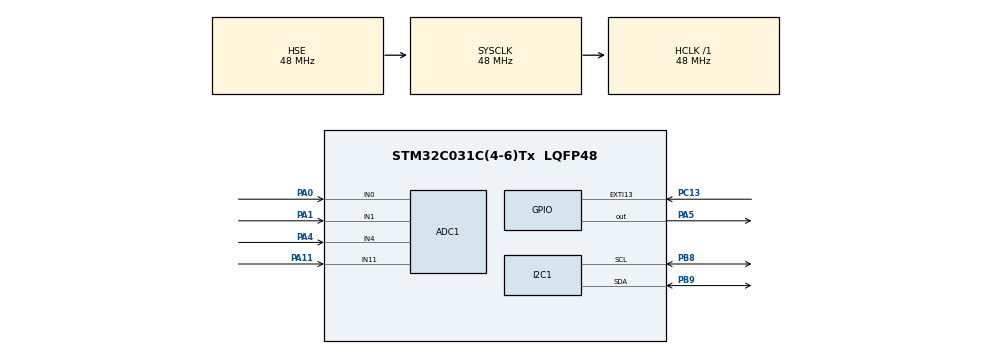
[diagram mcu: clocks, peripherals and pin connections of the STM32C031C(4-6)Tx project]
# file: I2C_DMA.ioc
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ADC1.Channel-0\#ChannelRegularConversion=ADC_CHANNEL_0
ADC1.Channel-1\#ChannelRegularConversion=ADC_CHANNEL_1
ADC1.Channel-2\#ChannelRegularConversion=ADC_CHANNEL_4
ADC1.Channel-3\#ChannelRegularConversion=ADC_CHANNEL_11
ADC1.ContinuousConvMode=ENABLE
ADC1.DMAContinuousRequests=ENABLE
ADC1.NbrOfConversion=4
ADC1.NbrOfConversionFlag=1
ADC1.OffsetNumber-0\#ChannelRegularConversion=ADC_OFFSET_NONE
ADC1.OffsetNumber-1\#ChannelRegularConversion=ADC_OFFSET_NONE
ADC1.OffsetNumber-2\#ChannelRegularConversion=ADC_OFFSET_NONE
ADC1.OffsetNumber-3\#ChannelRegularConversion=ADC_OFFSET_NONE
ADC1.Rank-0\#ChannelRegularConversion=1
ADC1.Rank-1\#ChannelRegularConversion=2
ADC1.Rank-2\#ChannelRegularConversion=3
ADC1.Rank-3\#ChannelRegularConversion=4
ADC1.SamplingTime-0\#ChannelRegularConversion=ADC_SAMPLINGTIME_COMMON_1
ADC1.SamplingTime-1\#ChannelRegularConversion=ADC_SAMPLINGTIME_COMMON_1
ADC1.SamplingTime-2\#ChannelRegularConversion=ADC_SAMPLINGTIME_COMMON_1
ADC1.SamplingTime-3\#ChannelRegularConversion=ADC_SAMPLINGTIME_COMMON_1
ADC1.SamplingTimeCommon1=ADC_SAMPLETIME_160CYCLES_5
ADC1.SamplingTimeCommon2=ADC_SAMPLETIME_160CYCLES_5
ADC1.SelectedChannel=ADC_CHANNEL_0|ADC_CHANNEL_1|ADC_CHANNEL_4|ADC_CHANNEL_11
ADC1.Sequencer=FULLY_CONFIGURABLE
ADC1.master=1
Dma.ADC1.0.Direction=DMA_PERIPH_TO_MEMORY
Dma.ADC1.0.EventEnable=DISABLE
Dma.ADC1.0.Instance=DMA1_Channel2
Dma.ADC1.0.MemDataAlignment=DMA_MDATAALIGN_HALFWORD
Dma.ADC1.0.MemInc=DMA_MINC_ENABLE
Dma.ADC1.0.Mode=DMA_CIRCULAR
Dma.ADC1.0.PeriphDataAlignment=DMA_PDATAALIGN_HALFWORD
Dma.ADC1.0.PeriphInc=DMA_PINC_DISABLE
Dma.ADC1.0.Polarity=HAL_DMAMUX_REQ_GEN_RISING
Dma.ADC1.0.Priority=DMA_PRIORITY_LOW
Dma.ADC1.0.RequestNumber=1
Dma.ADC1.0.SignalID=NONE
Dma.ADC1.0.SyncEnable=DISABLE
Dma.ADC1.0.SyncPolarity=HAL_DMAMUX_SYNC_NO_EVENT
Dma.ADC1.0.SyncRequestNumber=1
Dma.ADC1.0.SyncSignalID=NONE
Dma.I2C1_TX.1.Direction=DMA_MEMORY_TO_PERIPH
Dma.I2C1_TX.1.EventEnable=DISABLE
Dma.I2C1_TX.1.Instance=DMA1_Channel1
Dma.I2C1_TX.1.MemDataAlignment=DMA_MDATAALIGN_BYTE
Dma.I2C1_TX.1.MemInc=DMA_MINC_ENABLE
Dma.I2C1_TX.1.Mode=DMA_NORMAL
Dma.I2C1_TX.1.PeriphDataAlignment=DMA_PDATAALIGN_BYTE
Dma.I2C1_TX.1.PeriphInc=DMA_PINC_DISABLE
Dma.I2C1_TX.1.Polarity=HAL_DMAMUX_REQ_GEN_RISING
Dma.I2C1_TX.1.Priority=DMA_PRIORITY_HIGH
Dma.I2C1_TX.1.RequestNumber=1
Dma.I2C1_TX.1.SignalID=NONE
Dma.I2C1_TX.1.SyncEnable=DISABLE
Dma.I2C1_TX.1.SyncPolarity=HAL_DMAMUX_SYNC_NO_EVENT
Dma.I2C1_TX.1.SyncRequestNumber=1
Dma.I2C1_TX.1.SyncSignalID=NONE
Dma.Request0=ADC1
Dma.Request1=I2C1_TX
I2C1.NoStretchMode=I2C_NOSTRETCH_ENABLE
I2C1.OwnAddress=0x50
I2C1.Timing=0x10805D88
Mcu.Family=STM32C0
Mcu.Name=STM32C031C(4-6)Tx
Mcu.Package=LQFP48
NUCLEO-C031C6.BUTTON=1
NUCLEO-C031C6.LD4=true
NUCLEO-C031C6.VCP=true
NVIC.ADC1_IRQn=true\:0\:0\:false\:false\:true\:true\:true\:true
NVIC.DMA1_Channel1_IRQn=true\:0\:0\:false\:false\:true\:false\:true\:true
NVIC.DMA1_Channel2_3_IRQn=true\:0\:0\:false\:false\:true\:false\:true\:true
NVIC.EXTI4_15_IRQn=true\:0\:0\:false\:false\:true\:true\:true\:true
NVIC.I2C1_IRQn=true\:0\:0\:false\:false\:true\:true\:true\:true
PA0.Mode=IN0
PA0.Signal=ADC1_IN0
PA1.Mode=IN1
PA1.Signal=ADC1_IN1
PA11\ [PA9].Mode=IN11
PA11\ [PA9].Signal=ADC1_IN11
PA13.GPIO_Label=DEBUG_SWDIO
PA13.Signal=DEBUG_SWDIO
PA14-BOOT0.GPIO_Label=DEBUG_SWCLK
PA14-BOOT0.Signal=DEBUG_SWCLK
PA2.Signal=USART2_TX
PA3.Signal=USART2_RX
PA4.Mode=IN4
PA4.Signal=ADC1_IN4
PA5.Signal=GPIO_Output
PB8.Mode=I2C
PB8.Signal=I2C1_SCL
PB9.Mode=I2C
PB9.Signal=I2C1_SDA
PC13.Signal=GPXTI13
PC14-OSCX_IN\ (PC14).GPIO_Label=RCC_OSCX_IN
PC14-OSCX_IN\ (PC14).Mode=LSE-External-Oscillator
PC14-OSCX_IN\ (PC14).Signal=RCC_OSCX_IN
PC15-OSCX_OUT\ (PC15).GPIO_Label=RCC_OSCX_OUT
PC15-OSCX_OUT\ (PC15).Mode=LSE-External-Oscillator
PC15-OSCX_OUT\ (PC15).Signal=RCC_OSCX_OUT
PF0-OSC_IN\ (PF0).GPIO_Label=RCC_OSC_IN
PF0-OSC_IN\ (PF0).Mode=HSE-External-Oscillator
PF0-OSC_IN\ (PF0).Signal=RCC_OSC_IN
PF1-OSC_OUT\ (PF1).GPIO_Label=RCC_OSC_OUT
PF1-OSC_OUT\ (PF1).Mode=HSE-External-Oscillator
PF1-OSC_OUT\ (PF1).Signal=RCC_OSC_OUT
ProjectManager.HeapSize=0x200
ProjectManager.StackSize=0x400
ProjectManager.TargetToolchain=STM32CubeIDE
RCC.ADCFreq_Value=48000000
RCC.AHBFreq_Value=48000000
RCC.CortexFreq_Value=48000000
RCC.EXTERNAL_CLOCK_VALUE=12288000
RCC.HCLKFreq_Value=48000000
RCC.HSE_VALUE=48000000
RCC.HSISYSCLKDivider=RCC_HSI_DIV1
RCC.HSI_VALUE=48000000
RCC.SYSCLKFreq_VALUE=48000000
RCC.SYSCLKSource=RCC_SYSCLKSOURCE_HSE
VP_NUCLEO-C031C6_VS_BSP_COMMON.Mode=COMMON
board=NUCLEO-C031C6

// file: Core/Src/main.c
/* USER CODE BEGIN Header */
/**
  ******************************************************************************
  * @file           : main.c
  * @brief          : Main program body
  ******************************************************************************
  * @attention
  *
  * Copyright (c) 2025 STMicroelectronics.
  * All rights reserved.
  *
  * This software is licensed under terms that can be found in the LICENSE file
  * in the root directory of this software component.
  * If no LICENSE file comes with this software, it is provided AS-IS.
  *
  ******************************************************************************
  */
/* USER CODE END Header */
#include "main.h"

COM_InitTypeDef BspCOMInit;
ADC_HandleTypeDef hadc1;
DMA_HandleTypeDef hdma_adc1;

I2C_HandleTypeDef hi2c1;
DMA_HandleTypeDef hdma_i2c1_tx;

void SystemClock_Config(void);
static void MX_GPIO_Init(void);
static void MX_DMA_Init(void);
static void MX_ADC1_Init(void);
static void MX_I2C1_Init(void);

/* USER CODE BEGIN 0 */
uint8_t test_data[8] = {0,1,2,3,4,5,6,7};
uint16_t adc_buffer[4];
int I2C_Error = 0;
int ADC_Error = 0;
uint32_t I2C_Code = 0;
int DMA_Error = 0;
int result =  0;
/* USER CODE END 0 */

int main(void)
{

  /* MCU Confsiguration--------------------------------------------------------*/

  /* Reset of all peripherals, Initializes the Flash interface and the Systick. */
  HAL_Init();

  /* Configure the system clock */
  SystemClock_Config();

  /* Initialize all configured peripherals */
  MX_GPIO_Init();
  MX_DMA_Init();
  MX_ADC1_Init();
  MX_I2C1_Init();
  /* USER CODE BEGIN 2 */
  HAL_I2C_Slave_Transmit_DMA(&hi2c1, test_data, 8);
  HAL_ADC_Start_DMA(&hadc1, adc_buffer, 4);
  /* USER CODE END 2 */

  /* Initialize leds */
  BSP_LED_Init(LED_GREEN);

  /* Initialize USER push-button, will be used to trigger an interrupt each time it's pressed.*/
  BSP_PB_Init(BUTTON_USER, BUTTON_MODE_EXTI);

  /* Initialize COM1 port (115200, 8 bits (7-bit data + 1 stop bit), no parity */
  BspCOMInit.BaudRate   = 115200;
  BspCOMInit.WordLength = COM_WORDLENGTH_8B;
  BspCOMInit.StopBits   = COM_STOPBITS_1;
  BspCOMInit.Parity     = COM_PARITY_NONE;
  BspCOMInit.HwFlowCtl  = COM_HWCONTROL_NONE;
  if (BSP_COM_Init(COM1, &BspCOMInit) != BSP_ERROR_NONE)
  {
    Error_Handler();
  }

  /* Infinite loop */
  while (1)
  {

  }
}

void SystemClock_Config(void)
{
  RCC_OscInitTypeDef RCC_OscInitStruct = {0};
  RCC_ClkInitTypeDef RCC_ClkInitStruct = {0};

  __HAL_FLASH_SET_LATENCY(FLASH_LATENCY_1);

  /** Initializes the RCC Oscillators according to the specified parameters
  * in the RCC_OscInitTypeDef structure.
  */
  RCC_OscInitStruct.OscillatorType = RCC_OSCILLATORTYPE_HSE;
  RCC_OscInitStruct.HSEState = RCC_HSE_ON;
  if (HAL_RCC_OscConfig(&RCC_OscInitStruct) != HAL_OK)
  {
    Error_Handler();
  }

  /** Initializes the CPU, AHB and APB buses clocks
  */
  RCC_ClkInitStruct.ClockType = RCC_CLOCKTYPE_HCLK|RCC_CLOCKTYPE_SYSCLK
                              |RCC_CLOCKTYPE_PCLK1;
  RCC_ClkInitStruct.SYSCLKSource = RCC_SYSCLKSOURCE_HSE;
  RCC_ClkInitStruct.SYSCLKDivider = RCC_SYSCLK_DIV1;
  RCC_ClkInitStruct.AHBCLKDivider = RCC_HCLK_DIV1;
  RCC_ClkInitStruct.APB1CLKDivider = RCC_APB1_DIV1;

  if (HAL_RCC_ClockConfig(&RCC_ClkInitStruct, FLASH_LATENCY_1) != HAL_OK)
  {
    Error_Handler();
  }
}

static void MX_ADC1_Init(void)
{

  ADC_ChannelConfTypeDef sConfig = {0};

  /** Configure the global features of the ADC (Clock, Resolution, Data Alignment and number of conversion)
  */
  hadc1.Instance = ADC1;
  hadc1.Init.ClockPrescaler = ADC_CLOCK_SYNC_PCLK_DIV2;
  hadc1.Init.Resolution = ADC_RESOLUTION_12B;
  hadc1.Init.DataAlign = ADC_DATAALIGN_RIGHT;
  hadc1.Init.ScanConvMode = ADC_SCAN_ENABLE;
  hadc1.Init.EOCSelection = ADC_EOC_SINGLE_CONV;
  hadc1.Init.LowPowerAutoWait = DISABLE;
  hadc1.Init.LowPowerAutoPowerOff = DISABLE;
  hadc1.Init.ContinuousConvMode = ENABLE;
  hadc1.Init.NbrOfConversion = 4;
  hadc1.Init.ExternalTrigConv = ADC_SOFTWARE_START;
  hadc1.Init.ExternalTrigConvEdge = ADC_EXTERNALTRIGCONVEDGE_NONE;
  hadc1.Init.DMAContinuousRequests = ENABLE;
  hadc1.Init.Overrun = ADC_OVR_DATA_PRESERVED;
  hadc1.Init.SamplingTimeCommon1 = ADC_SAMPLETIME_160CYCLES_5;
  hadc1.Init.SamplingTimeCommon2 = ADC_SAMPLETIME_160CYCLES_5;
  hadc1.Init.OversamplingMode = DISABLE;
  hadc1.Init.TriggerFrequencyMode = ADC_TRIGGER_FREQ_HIGH;
  if (HAL_ADC_Init(&hadc1) != HAL_OK)
  {
    Error_Handler();
  }

  /** Configure Regular Channel
  */
  sConfig.Channel = ADC_CHANNEL_0;
  sConfig.Rank = ADC_REGULAR_RANK_1;
  sConfig.SamplingTime = ADC_SAMPLINGTIME_COMMON_1;
  if (HAL_ADC_ConfigChannel(&hadc1, &sConfig) != HAL_OK)
  {
    Error_Handler();
  }

  /** Configure Regular Channel
  */
  sConfig.Channel = ADC_CHANNEL_1;
  sConfig.Rank = ADC_REGULAR_RANK_2;
  if (HAL_ADC_ConfigChannel(&hadc1, &sConfig) != HAL_OK)
  {
    Error_Handler();
  }

  /** Configure Regular Channel
  */
  sConfig.Channel = ADC_CHANNEL_4;
  sConfig.Rank = ADC_REGULAR_RANK_3;
  if (HAL_ADC_ConfigChannel(&hadc1, &sConfig) != HAL_OK)
  {
    Error_Handler();
  }

  /** Configure Regular Channel
  */
  sConfig.Channel = ADC_CHANNEL_11;
  sConfig.Rank = ADC_REGULAR_RANK_4;
  if (HAL_ADC_ConfigChannel(&hadc1, &sConfig) != HAL_OK)
  {
    Error_Handler();
  }

}

static void MX_I2C1_Init(void)
{

  hi2c1.Instance = I2C1;
  hi2c1.Init.Timing = 0x10805D88;
  hi2c1.Init.OwnAddress1 = 160;
  hi2c1.Init.AddressingMode = I2C_ADDRESSINGMODE_7BIT;
  hi2c1.Init.DualAddressMode = I2C_DUALADDRESS_DISABLE;
  hi2c1.Init.OwnAddress2 = 0;
  hi2c1.Init.OwnAddress2Masks = I2C_OA2_NOMASK;
  hi2c1.Init.GeneralCallMode = I2C_GENERALCALL_DISABLE;
  hi2c1.Init.NoStretchMode = I2C_NOSTRETCH_ENABLE;
  if (HAL_I2C_Init(&hi2c1) != HAL_OK)
  {
    Error_Handler();
  }

  /** Configure Analogue filter
  */
  if (HAL_I2CEx_ConfigAnalogFilter(&hi2c1, I2C_ANALOGFILTER_ENABLE) != HAL_OK)
  {
    Error_Handler();
  }

  /** Configure Digital filter
  */
  if (HAL_I2CEx_ConfigDigitalFilter(&hi2c1, 0) != HAL_OK)
  {
    Error_Handler();
  }

}

static void MX_DMA_Init(void)
{

  /* DMA controller clock enable */
  __HAL_RCC_DMA1_CLK_ENABLE();

  /* DMA interrupt init */
  /* DMA1_Channel1_IRQn interrupt configuration */
  HAL_NVIC_SetPriority(DMA1_Channel1_IRQn, 0, 0);
  HAL_NVIC_EnableIRQ(DMA1_Channel1_IRQn);
  /* DMA1_Channel2_3_IRQn interrupt configuration */
  HAL_NVIC_SetPriority(DMA1_Channel2_3_IRQn, 0, 0);
  HAL_NVIC_EnableIRQ(DMA1_Channel2_3_IRQn);

}

static void MX_GPIO_Init(void)
{

  /* GPIO Ports Clock Enable */
  __HAL_RCC_GPIOC_CLK_ENABLE();
  __HAL_RCC_GPIOF_CLK_ENABLE();
  __HAL_RCC_GPIOA_CLK_ENABLE();
  __HAL_RCC_GPIOB_CLK_ENABLE();

}

/* USER CODE BEGIN 4 */

// Callback for listen complete
void HAL_I2C_SlaveTxCpltCallback(I2C_HandleTypeDef *hi2c)
{
    // Re-arm for next master read
    HAL_I2C_Slave_Transmit_DMA(hi2c, test_data, 8);
}
void HAL_I2C_ErrorCallback(I2C_HandleTypeDef *hi2c)
{
	I2C_Code = HAL_I2C_GetError(hi2c);
	I2C_Error = 1;
}

//void HAL_ADC_ErrorCallback(ADC_HandleTypeDef *hadc)
//{
//    // Toggle LED or breakpoint for debugging
//	ADC_Error = 1;
//}
void HAL_DMA_ErrorCallback(DMA_HandleTypeDef *hdma)
{
    DMA_Error = 1;
}
/* USER CODE END 4 */

void Error_Handler(void)
{
  __disable_irq();
  while (1)
  {
  }
}
